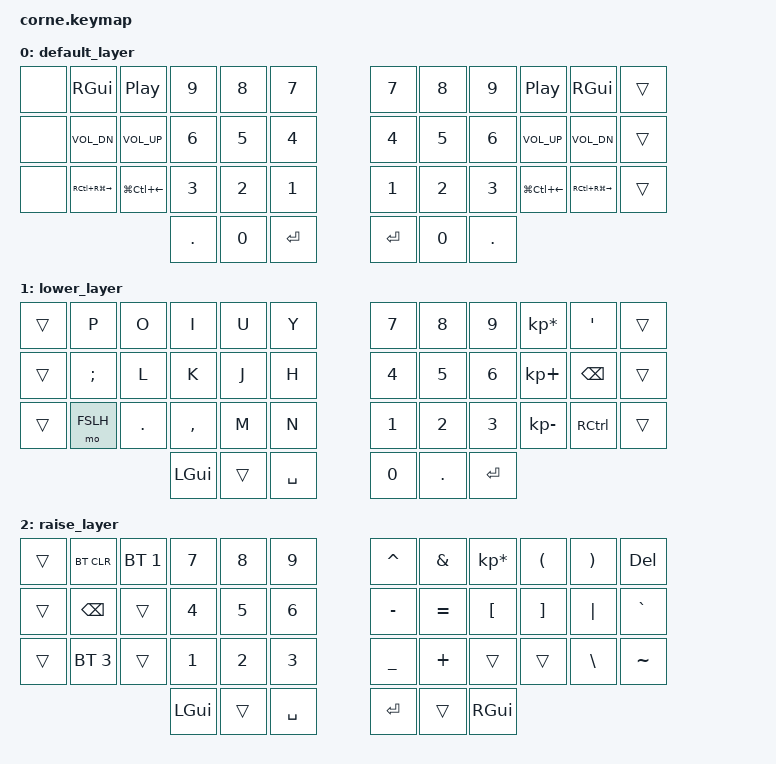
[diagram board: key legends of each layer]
/*
 * Copyright (c) 2020 The ZMK Contributors
 *
 * SPDX-License-Identifier: MIT
 */

#include <behaviors.dtsi>
#include <dt-bindings/zmk/keys.h>
#include <dt-bindings/zmk/bt.h>

/ {
        keymap {
                compatible = "zmk,keymap";

                default_layer {
// -----------------------------------------------------------------------------------------
// | ESC |  Q  |  W  |  E  |  R  |  T  |      |  Y  |  U   |  I  |  O  |  P  | '   |
// | TAB |  A  |  S  |  D  |  F  |  G  |      |  H  |  J   |  K  |  L  |  ;  | BSPC|
// | RSE |  Z  |  X  |  C  |  V  |  B  |      |  N  |  M   |  ,  |  .  |  /  |RCTRL|
//                   | ALT |SHIFT| LWR |      | SPC | ENT  |RCTRL|
                        bindings = <
   &none &kp RGUI          &kp C_PP         &kp N9  &kp N8   &kp N7       &kp N7       &kp N8  &kp N9  &kp C_PP        &kp RGUI       &trans
   &none &kp C_VOL_DN      &kp C_VOL_UP     &kp N6  &kp N5   &kp N4       &kp N4       &kp N5  &kp N6  &kp C_VOL_UP    &kp C_VOL_DN   &trans
   &none &kp RC(RG(RIGHT)) &kp LG(LC(LEFT)) &kp N3  &kp N2   &kp N1       &kp N1           &kp N2  &kp N3  &kp LG(LC(LEFT))    &kp RC(RG(RIGHT))  &trans
                 &kp DOT &kp N0   &kp RET                                                 &kp RET &kp N0  &kp DOT
                        >; 
                };
                lower_layer {
// -----------------------------------------------------------------------------------------
// |     | ESC |  2  |  3  |  4  |  5  |   |  7  |  8  |  9  |  *  |  '  |      |
// |     | TAB | LEFT| DOWN| UP  |RIGHT|   |  4  |  5  |  6  |  +  | BSPC|      |
// |     | RSE |     | MPRV|PLAY | MNXT|   |  1  |  2  |  3  |  -  |RCTRL|      |
//                   | GUI |     | SPC |   |  0  |  .  | ENT |
                        bindings = <
   &trans   &kp P     &kp O   &kp I     &kp U    &kp Y        &kp N7   &kp N8   &kp N9    &kp KP_MULTIPLY  &kp SQT   &trans
   &trans   &kp SEMI  &kp L   &kp K     &kp J    &kp H           &kp N4   &kp N5   &kp N6    &kp KP_PLUS      &kp BSPC  &trans
   &trans   &mo FSLH  &kp DOT &kp COMMA &kp M    &kp N          &kp N1   &kp N2   &kp N3    &kp KP_MINUS     &kp RCTRL &trans
                                &kp LGUI   &trans       &kp SPACE           &kp N0   &kp DOT  &kp RET
                        >;
                };

                raise_layer {
// -----------------------------------------------------------------------------------------
// |      |  !  |  @  |  #  |  $  |  %  |   |  ^  |  &  |  *  |  (  |  )  | DEL  |
// |      |BTCLR| BT1 | BT2 | BT3 | BT4 |   |  -  |  =  |  {  |  }  | "|" |  `   |
// |      |     |     |     |     |     |   |  _  |  +  |  [  |  ]  |  \  |  ~   | // TODO: Fix this row when &mkp is committed
//                    | GUI |     | SPC |   | ENT |     | RGUI|
                        bindings = <
   &trans     &bt BT_CLR   &bt BT_SEL 1 &kp N7 &kp N8 &kp N9         &kp CARET &kp AMPS  &kp KP_MULTIPLY &kp LPAR &kp RPAR &kp DEL
   &trans     &kp BSPC     &trans       &kp N4 &kp N5 &kp N6      &kp MINUS &kp EQUAL &kp LBKT        &kp RBKT &kp PIPE &kp GRAVE
   &trans     &bt BT_SEL 3 &trans       &kp N1 &kp N2 &kp N3            &kp UNDER &kp PLUS  &trans          &trans   &kp BSLH &kp TILDE
                                         &kp LGUI &trans &kp SPACE                   &kp RET &trans &kp RGUI
                        >;
                };
        };
};
